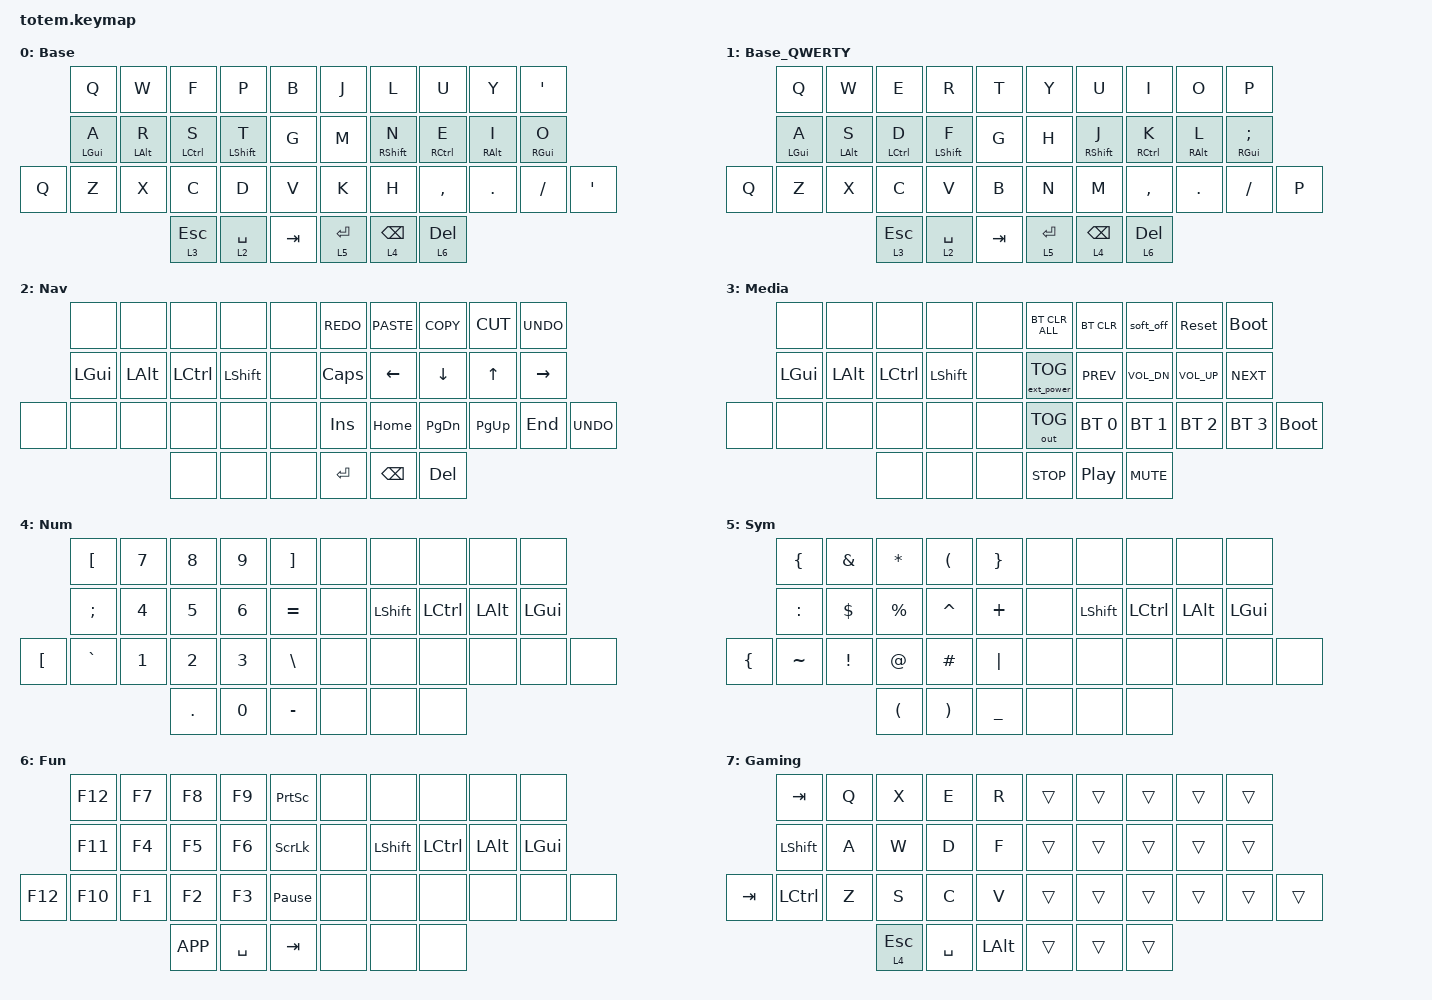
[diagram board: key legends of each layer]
//
//                                                        ▀▀▀▀▀     ▀▀▀▀▀          ▀▀█▀▀
//                                                        ▄▀▀▀▄  ▄  ▄▀▀▀▄  ▄  ▄▀▀▀▄  █  ▄▀▀▀▄
//                                                        █   █  █  █   █  █  █   █  █  █   █
//                                                         ▀▀▀   █   ▀▀▀   █   ▀▀▀   ▀   ▀▀▀
//                                                               █      ▄▄▄█▄▄▄    █   █  
//                                                               ▀      █  █  █     █▄█
//                                                             ▀▀▀▀▀    █  █  █      ▀
//                                                                      ▀  ▀  ▀
//
// ▄▄▄▄▄▄▄▄▄▄▄▄▄▄▄▄▄▄▄▄▄▄▄▄▄▄▄▄▄▄▄▄▄▄▄▄▄▄▄▄▄▄▄▄▄▄▄▄▄▄▄▄▄▄▄▄▄▄▄▄▄▄▄▄▄▄▄▄▄▄▄▄▄▄▄▄▄▄▄▄▄▄▄▄▄▄▄▄▄▄▄▄▄▄▄▄▄▄▄▄▄▄▄▄▄▄▄▄▄▄▄▄▄▄▄▄▄▄▄▄▄▄▄▄▄▄▄▄▄▄▄▄▄▄▄▄▄▄▄▄▄▄▄▄▄▄▄▄▄

#include <behaviors.dtsi>
#include <dt-bindings/zmk/bt.h>
#include <dt-bindings/zmk/ext_power.h>
#include <dt-bindings/zmk/keys.h>
#include <dt-bindings/zmk/outputs.h>

&mt {
    quick-tap-ms = <100>;
    global-quick-tap;
    flavor = "tap-preferred";
    tapping-term-ms = <170>;
};

&lt {
    tapping-term-ms = <240>;
    flavor = "balanced";
    quick-tap-ms = <150>;
};

/ {
    behaviors {
        hm: homerow_mods {
            compatible = "zmk,behavior-hold-tap";
            label = "HOMEROW_MODS";
            #binding-cells = <2>;
            flavor = "tap-preferred";
            tapping-term-ms = <200>;
            quick-tap-ms = <125>;
            global-quick-tap;
            bindings = <&kp>, <&kp>;
        };
    };

    combos {
        compatible = "zmk,combos";

        qwerty_switch {
            bindings = <&to 1>;
            key-positions = <34 19>;
            layers = <0>;
        };

        colemak_switch {
            bindings = <&to 0>;
            key-positions = <34 19>;
            layers = <1>;
        };

        qwerty_apostrophe {
            bindings = <&kp APOS>;
            key-positions = <19 10>;
            layers = <1>;
        };

        gaming_switch {
            bindings = <&to 7>;
            key-positions = <34 18>;
            layers = <0>;
        };

        normal_switch {
            bindings = <&to 0>;
            key-positions = <34 18>;
            layers = <7>;
        };
    };

    keymap {
        compatible = "zmk,keymap";

        Base {
            bindings = <
       &kp Q       &kp W       &kp F        &kp P        &kp B      &kp J        &kp L        &kp U        &kp Y       &kp APOS
       &hm LGUI A  &hm LALT R  &hm LCTRL S  &hm LSHFT T  &kp G      &kp M        &hm RSHFT N  &hm RCTRL E  &hm RALT I  &hm RGUI O
&kp Q  &kp Z       &kp X       &kp C        &kp D        &kp V      &kp K        &kp H        &kp COMMA    &kp DOT     &kp FSLH    &kp APOS
                               &lt 3 ESC    &lt 2 SPACE  &kp TAB    &lt 5 ENTER  &lt 4 BSPC   &lt 6 DEL
            >;

            label = "Base";
        };

        Base_QWERTY {
            display-name = "Base_QWERTY";
            bindings = <
       &kp Q       &kp W       &kp E        &kp R         &kp T      &kp Y      &kp U        &kp I        &kp O       &kp P
       &hm LGUI A  &hm LALT S  &hm LCTRL D  &hm LSHIFT F  &kp G      &kp H      &hm RSHFT J  &hm RCTRL K  &hm RALT L  &hm RGUI SEMICOLON
&kp Q  &kp Z       &kp X       &kp C        &kp V         &kp B      &kp N      &kp M        &kp COMMA    &kp DOT     &kp SLASH           &kp P
                               &lt 3 ESC    &lt 2 SPACE   &kp TAB    &lt 5 RET  &lt 4 BSPC   &lt 6 DEL
            >;
        };

        Nav {
            bindings = <
       &none     &none     &none      &none      &none    &kp K_REDO  &kp K_PASTE  &kp K_COPY  &kp K_CUT  &kp K_UNDO
       &kp LGUI  &kp LALT  &kp LCTRL  &kp LSHFT  &none    &kp CAPS    &kp LEFT     &kp DOWN    &kp UP     &kp RIGHT
&none  &none     &none     &none      &none      &none    &kp INS     &kp HOME     &kp PG_DN   &kp PG_UP  &kp END     &kp K_UNDO
                           &none      &none      &none    &kp RET     &kp BSPC     &kp DEL
            >;

            label = "Nav";
        };

        Media {
            bindings = <
       &none     &none     &none      &none      &none    &bt BT_CLR_ALL     &bt BT_CLR    &soft_off     &sys_reset    &bootloader
       &kp LGUI  &kp LALT  &kp LCTRL  &kp LSHFT  &none    &ext_power EP_TOG  &kp C_PREV    &kp C_VOL_DN  &kp C_VOL_UP  &kp C_NEXT
&none  &none     &none     &none      &none      &none    &out OUT_TOG       &bt BT_SEL 0  &bt BT_SEL 1  &bt BT_SEL 2  &bt BT_SEL 3  &bootloader
                           &none      &none      &none    &kp C_STOP         &kp C_PP      &kp C_MUTE
            >;

            label = "Media";
        };

        Num {
            bindings = <
          &kp LBKT   &kp N7  &kp N8   &kp N9  &kp RBKT     &none  &none      &none      &none     &none
          &kp SEMI   &kp N4  &kp N5   &kp N6  &kp EQUAL    &none  &kp LSHFT  &kp LCTRL  &kp LALT  &kp LGUI
&kp LBKT  &kp GRAVE  &kp N1  &kp N2   &kp N3  &kp BSLH     &none  &none      &none      &none     &none     &none
                             &kp DOT  &kp N0  &kp MINUS    &none  &none      &none
            >;

            label = "Num";
        };

        Sym {
            display-name = "Sym";
            bindings = <
          &kp LBRC   &kp AMPS  &kp ASTRK  &kp LPAR   &kp RBRC     &none  &none      &none      &none     &none
          &kp COLON  &kp DLLR  &kp PRCNT  &kp CARET  &kp PLUS     &none  &kp LSHFT  &kp LCTRL  &kp LALT  &kp LGUI
&kp LBRC  &kp TILDE  &kp EXCL  &kp AT     &kp HASH   &kp PIPE     &none  &none      &none      &none     &none     &none
                               &kp LPAR   &kp RPAR   &kp UNDER    &none  &none      &none
            >;

            label = "Sym";
        };

        Fun {
            display-name = "Fun";
            bindings = <
         &kp F12  &kp F7  &kp F8     &kp F9     &kp PRINTSCREEN    &none  &none      &none      &none     &none
         &kp F11  &kp F4  &kp F5     &kp F6     &kp SCROLLLOCK     &none  &kp LSHFT  &kp LCTRL  &kp LALT  &kp LGUI
&kp F12  &kp F10  &kp F1  &kp F2     &kp F3     &kp PAUSE_BREAK    &none  &none      &none      &none     &none     &none
                          &kp K_APP  &kp SPACE  &kp TAB            &none  &none      &none
            >;

            label = "Fun";
        };

        Gaming {
            bindings = <
         &kp TAB    &kp Q  &kp X      &kp E      &kp R       &trans  &trans  &trans  &trans  &trans
         &kp LSHFT  &kp A  &kp W      &kp D      &kp F       &trans  &trans  &trans  &trans  &trans
&kp TAB  &kp LCTRL  &kp Z  &kp S      &kp C      &kp V       &trans  &trans  &trans  &trans  &trans  &trans
                           &lt 4 ESC  &kp SPACE  &kp LALT    &trans  &trans  &trans
            >;
        };
    };
};
